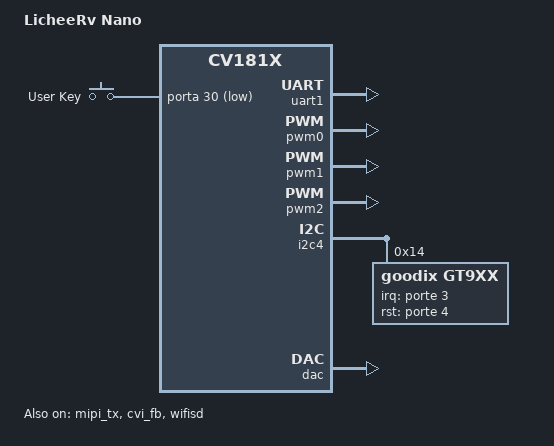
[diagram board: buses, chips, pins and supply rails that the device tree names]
/dts-v1/;
#include "cv181x_base_riscv.dtsi"
#include "cv181x_asic_qfn.dtsi"
#include "cv181x_asic_sd.dtsi"
#include "cv181x_default_memmap.dtsi"

#include <dt-bindings/input/linux-event-codes.h>
#include <dt-bindings/gpio/gpio.h>

&i2c0 {
	status = "disabled";
        /delete-property/ scl-pinmux;
        /delete-property/ sda-pinmux;
        /delete-property/ scl-gpios;
        /delete-property/ sda-gpios;
};

&i2c1 {
	status = "disabled";
        /delete-property/ scl-pinmux;
        /delete-property/ sda-pinmux;
        /delete-property/ scl-gpios;
        /delete-property/ sda-gpios;
};

&sd {
	min-frequency = <400000>; // 400Khz
	//max-frequency = <50000000>; // 50Mhz
	max-frequency = <25000000>; // 25Mhz
	//max-frequency = <10000000>; // 10Mhz
	//max-frequency = <5000000>; // 5Mhz
};

&cvi_vo {
	reset-gpio = <&porte 0 1>;
	/delete-property/ pwm-gpio;
	/delete-property/ power-ct-gpio;

};

&mipi_tx {
	/delete-property/ pwm-gpio;
	/delete-property/ reset-gpio;
	/delete-property/ power-ct-gpio;
	status = "okay";
};

&uart1 {
	status = "okay";
};

&pwm0 {
	status = "okay";
};

&pwm1 {
      status = "okay";
};

&pwm2 {
      status = "okay";
};

&i2c2 {
	status = "disabled";
        /delete-property/ scl-pinmux;
        /delete-property/ sda-pinmux;
        /delete-property/ scl-gpios;
        /delete-property/ sda-gpios;
};

&i2c3 {
	status = "disabled";
        /delete-property/ scl-pinmux;
        /delete-property/ sda-pinmux;
        /delete-property/ scl-gpios;
        /delete-property/ sda-gpios;
};

&i2c4 {
	statuc = "okay";
	gt9xx: gt9xx@14 {
		compatible = "goodix,gt9xx";
		reg = <0x14>;
		goodix,irq-gpio = <&porte 3 0>;
		goodix,rst-gpio = <&porte 4 0>;
		status = "okay";
	};
};

&dac {
	status = "okay";
	/delete-property/ mute-gpio-r;
};

&fb_reserved {
	status = "okay";
};

&cvi_fb {
	status = "okay";
};

&mipi_rx {
        snsr-reset = <&porte 1 GPIO_ACTIVE_LOW>;
};

/ {
	model = "LicheeRv Nano";

	gpio-keys {
                compatible = "gpio-keys";
                key-user {
                        label = "User Key";
                        linux,code = <KEY_DISPLAYTOGGLE>;
                        debounce-interval = <1>;
                        gpios = <&porta 30 1>;
                };
        };

	wifisd:wifi-sd@4320000 {
                compatible = "cvitek,cv181x-sdio";
                bus-width = <4>;
                reg = <0x0 0x4320000 0x0 0x1000>;
                reg_names = "core_mem";
                src-frequency = <375000000>;
                min-frequency = <400000>; // 400Khz
                //max-frequency = <50000000>; // 50Mhz
                //max-frequency = <45000000>; // 45Mhz
                //max-frequency = <40000000>; // 40Mhz
                //max-frequency = <35000000>; // 35Mhz
                //max-frequency = <30000000>; // 30Mhz
                max-frequency = <25000000>; // 25Mhz
                //max-frequency = <20000000>; // 20Mhz
                //max-frequency = <15000000>; // 15Mhz
                //max-frequency = <10000000>; // 10Mhz
                //max-frequency = <5000000>; // 5Mhz
                64_addressing;
                reset_tx_rx_phy;
                non-removable;
                pll_index = <0x7>;
                pll_reg = <0x300207C>;
                no-mmc;
                no-sd;
                status = "okay";
                interrupts = <38 IRQ_TYPE_LEVEL_HIGH>;
                interrupt-parent = <&plic0>;
        };

	// for maixcam
	i2c5: i2c-gpio-a24-a23 {
                compatible = "i2c-gpio";
                scl-gpios = <&porta 24 (GPIO_ACTIVE_HIGH | GPIO_OPEN_DRAIN)>;
                sda-gpios = <&porta 23 (GPIO_ACTIVE_HIGH | GPIO_OPEN_DRAIN)>;
                i2c-gpio,delay-us = <5>;
                status = "disabled";
        };
};
